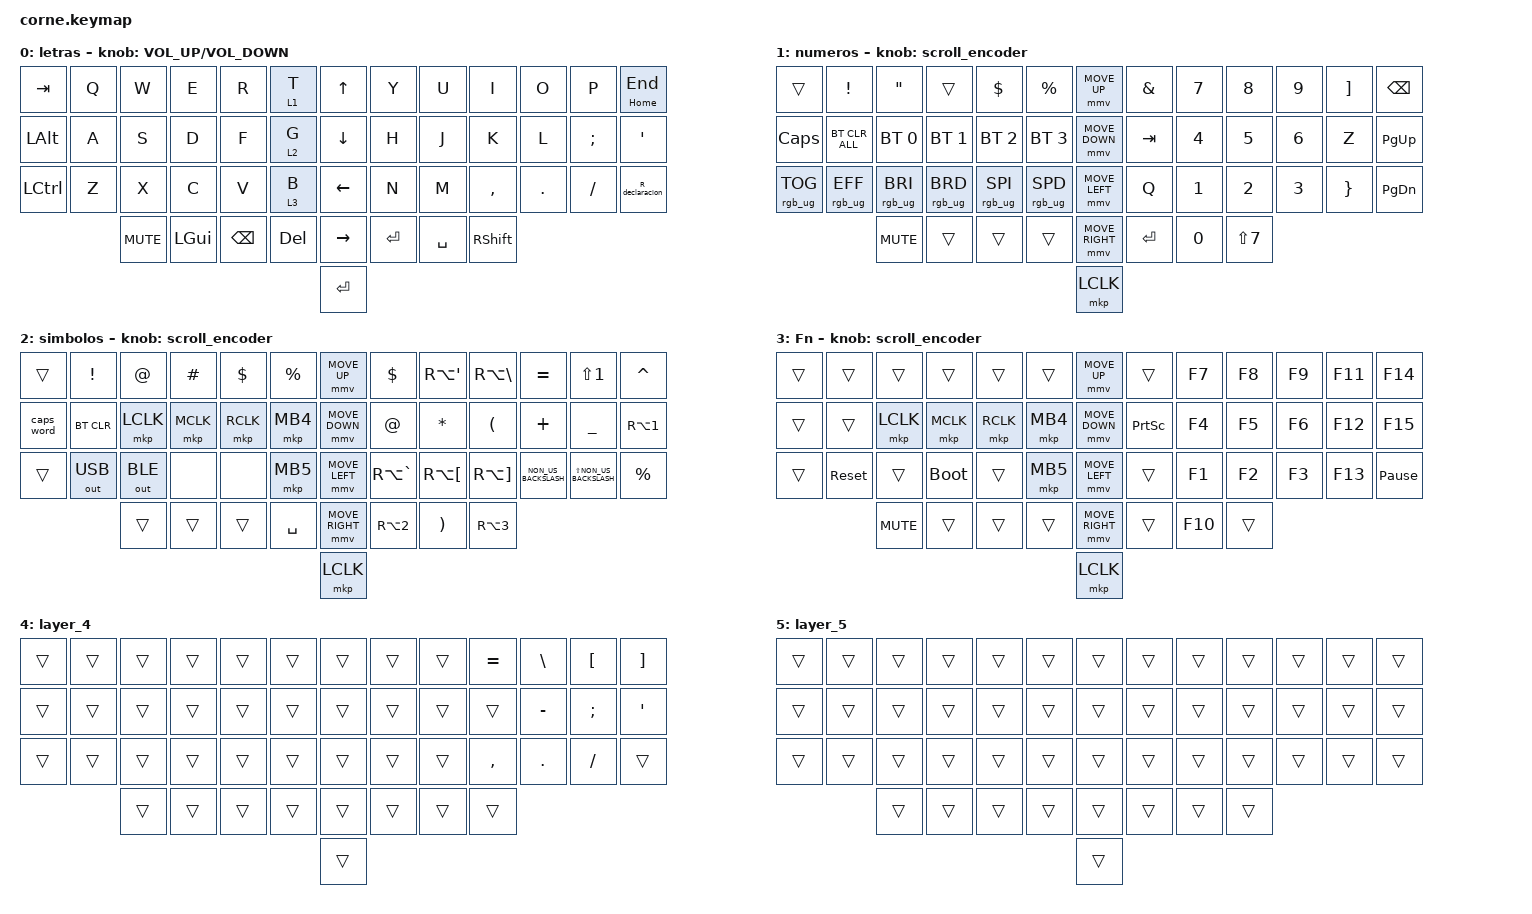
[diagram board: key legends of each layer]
#include <behaviors/mouse_keys.dtsi>
#include <dt-bindings/zmk/mouse.h>
#include <behaviors.dtsi>
#include <dt-bindings/zmk/bt.h>
#include <dt-bindings/zmk/keys.h>
#include <dt-bindings/zmk/outputs.h>
#include <dt-bindings/zmk/pointing.h>
#include <dt-bindings/zmk/pointing.h>
#include <dt-bindings/zmk/pointing.h>
#include <dt-bindings/zmk/rgb.h>

#define ZMK_MOUSE_DEFAULT_MOVE_VAL 1200  // 600
#define ZMK_MOUSE_DEFAULT_SCRL_VAL 20    // 10
#define U_MS_U &mmv MOVE_UP
#define U_MS_D &mmv MOVE_DOWN
#define U_MS_L &mmv MOVE_LEFT
#define U_MS_R &mmv MOVE_RIGHT

&lt { tapping-term-ms = <200>; };

/ {
    behaviors {
        td0: td0 {
            compatible = "zmk,behavior-tap-dance";
            label = "TD0";
            #binding-cells = <0>;
            bindings = <&kp LEFT_SHIFT>, <&kp CAPS>;
        };

        mmv {
            acceleration-exponent = <1>;      // 1
            time-to-max-speed-ms = <900>;    // 40
            delay-ms = <0>;                   // 0
        };

        msc {
            acceleration-exponent = <1>;      // 0
            time-to-max-speed-ms = <400>;      // 500
            delay-ms = <0>;                   // 10
        };
    };

    rgb_encoder: rgb_encoder {
        compatible = "zmk,behavior-sensor-rotate";
        label = "RGB_ENCODER";
        #sensor-binding-cells = <0>;
        bindings = <&rgb_ug RGB_BRI>, <&rgb_ug RGB_BRD>;
    };

    scroll_encoder: scroll_encoder {
        compatible = "zmk,behavior-sensor-rotate";
        #sensor-binding-cells = <0>;
        bindings = <&msc SCRL_DOWN>, <&msc SCRL_UP>;

        tap-ms = <30>;
    };

    combos {
        compatible = "zmk,combos";

        escape {
            bindings = <&kp ESCAPE>;
            key-positions = <0 1>;
        };

        caps {
            bindings = <&kp CAPSLOCK>;
            key-positions = <40 46>;
        };
    };

    macros {
        R_declaracion: R_declaracion {
            compatible = "zmk,behavior-macro";
            #binding-cells = <0>;
            bindings = <&kp NON_US_BACKSLASH &kp Z>;
            label = "R_DECLARACION";
        };
    };

    keymap {
        compatible = "zmk,keymap";

        default_layer {
            display-name = "letras";

            // --------------------------------------------------------------------------------
            // |  TAB |  Q  |  W  |  E  |  R  |  T  |                ↑    |  Y  |  U   |  I  |  O  |  P  | BKSP |      &kp UP_ARROW 
            // | SHIFT |  A  |  S  |  D  |  F  |  G  |               ↓    |  H  |  J   |  K  |  L  |  ;  |  '   | 
            // | CTRL |  Z  |  X  |  C  |  V  |  B  |                ←    |  N  |  M   |  ,  |  .  |  /  | ESC  |
            //                    | GUI | LWR | SPC |                →    | ENT | RSE  | ALT |
            //                                                      enter

            bindings = <
&kp TAB           &kp Q  &kp W       &kp E         &kp R          &lt 1 T       &kp UP_ARROW     &kp Y      &kp U      &kp I            &kp O    &kp P     &mt HOME END
&kp LEFT_ALT      &kp A  &kp S       &kp D         &kp F          &lt 2 G       &kp DOWN_ARROW   &kp H      &kp J      &kp K            &kp L    &kp SEMI  &kp SQT
&kp LEFT_CONTROL  &kp Z  &kp X       &kp C         &kp V          &lt 3 B       &kp LEFT_ARROW   &kp N      &kp M      &kp COMMA        &kp DOT  &kp FSLH  &R_declaracion
                         &kp K_MUTE  &kp LEFT_GUI  &kp BACKSPACE  &kp DELETE    &kp RIGHT_ARROW  &kp ENTER  &kp SPACE  &kp RIGHT_SHIFT
                                                                                &kp ENTER
            >;

            label = "QWERTY";
            sensor-bindings = <&inc_dec_kp C_VOLUME_UP C_VOLUME_DOWN>;
        };

        lower_layer {
            display-name = "numeros";

            // -----------------------------------------------------------------------------------------
            // |  TAB |  1  |  2  |  3  |  4  |  5  |   |  6  |  7  |  8  |  9  |  0  | BKSP |
            // | BTCLR| BT1 | BT2 | BT3 | BT4 | BT5 |   | LFT | DWN |  UP | RGT |     |      |
            // | SHFT |     |     |     |     |     |   |     |     |     |     |     |      |
            //                    | GUI |     | SPC |   | ENT |     | ALT |

            bindings = <
&trans           &kp EXCLAMATION  &kp DOUBLE_QUOTES  &trans           &kp DOLLAR       &kp PERCENT        &mmv MOVE_UP     &kp AMPERSAND  &kp N7  &kp N8      &kp N9  &kp RIGHT_BRACKET  &kp BSPC
&kp CAPSLOCK     &bt BT_CLR_ALL   &bt BT_SEL 0       &bt BT_SEL 1     &bt BT_SEL 2     &bt BT_SEL 3       &mmv MOVE_DOWN   &kp TAB        &kp N4  &kp N5      &kp N6  &kp Z              &kp PG_UP
&rgb_ug RGB_TOG  &rgb_ug RGB_EFF  &rgb_ug RGB_BRI    &rgb_ug RGB_BRD  &rgb_ug RGB_SPI  &rgb_ug RGB_SPD    &mmv MOVE_LEFT   &kp Q          &kp N1  &kp N2      &kp N3  &kp RIGHT_BRACE    &kp PG_DN
                                  &kp C_MUTE         &trans           &trans           &trans             &mmv MOVE_RIGHT  &kp ENTER      &kp N0  &kp LS(N7)
                                                                                                          &mkp LCLK
            >;

            label = "NUMBER";
            sensor-bindings = <&scroll_encoder>;
        };

        raise_layer {
            display-name = "simbolos";

            // -----------------------------------------------------------------------------------------
            // |  TAB |  !  |  @  |  #  |  $  |  %  |   |  ^  |  &  |  *  |  (  |  )  | BKSP |
            // | CTRL |     |     |     |     |     |   |  -  |  =  |  [  |  ]  |  \  |  `   |
            // | SHFT |     |     |     |     |     |   |  _  |  +  |  {  |  }  | "|" |  ~   |
            //                    | GUI |     | SPC |   | ENT |     | ALT |

            bindings = <
&trans      &kp EXCL      &kp AT        &kp HASH   &kp DLLR   &kp PRCNT    &mmv MOVE_UP     &kp DOLLAR     &kp RA(SINGLE_QUOTE)   &kp RA(BACKSLASH)      &kp EQUAL             &kp LS(N1)                &kp CARET
&caps_word  &bt BT_CLR    &mkp LCLK     &mkp MCLK  &mkp RCLK  &mkp MB4     &mmv MOVE_DOWN   &kp AT         &kp ASTERISK           &kp LEFT_PARENTHESIS   &kp PLUS              &kp UNDER                 &kp RA(N1)
&trans      &out OUT_USB  &out OUT_BLE  &none      &none      &mkp MB5     &mmv MOVE_LEFT   &kp RA(GRAVE)  &kp RA(LEFT_BRACKET)   &kp RA(RIGHT_BRACKET)  &kp NON_US_BACKSLASH  &kp LS(NON_US_BACKSLASH)  &kp PERCENT
                          &trans        &trans     &trans     &kp SPACE    &mmv MOVE_RIGHT  &kp RA(N2)     &kp RIGHT_PARENTHESIS  &kp RA(NUMBER_3)
                                                                           &mkp LCLK
            >;

            label = "SYMBOL";
            sensor-bindings = <&scroll_encoder>;
        };

        layer_3 {
            display-name = "Fn";
            bindings = <
&trans  &trans      &trans      &trans       &trans     &trans      &mmv MOVE_UP     &trans           &kp F7   &kp F8  &kp F9  &kp F11  &kp F14
&trans  &trans      &mkp LCLK   &mkp MCLK    &mkp RCLK  &mkp MB4    &mmv MOVE_DOWN   &kp PRINTSCREEN  &kp F4   &kp F5  &kp F6  &kp F12  &kp F15
&trans  &sys_reset  &trans      &bootloader  &trans     &mkp MB5    &mmv MOVE_LEFT   &trans           &kp F1   &kp F2  &kp F3  &kp F13  &kp PAUSE_BREAK
                    &kp C_MUTE  &trans       &trans     &trans      &mmv MOVE_RIGHT  &trans           &kp F10  &trans
                                                                    &mkp LCLK
            >;

            label = "FN";
            sensor-bindings = <&scroll_encoder>;
        };

        layer_4 {
            bindings = <
&trans  &trans  &trans  &trans  &trans  &trans    &trans  &trans  &trans  &kp EQUAL  &kp BSLH   &kp LBKT  &kp RBKT
&trans  &trans  &trans  &trans  &trans  &trans    &trans  &trans  &trans  &trans     &kp MINUS  &kp SEMI  &kp APOS
&trans  &trans  &trans  &trans  &trans  &trans    &trans  &trans  &trans  &kp COMMA  &kp DOT    &kp FSLH  &trans
                &trans  &trans  &trans  &trans    &trans  &trans  &trans  &trans
                                                  &trans
            >;
        };

        layer_5 {
            bindings = <
&trans  &trans  &trans  &trans  &trans  &trans    &trans  &trans  &trans  &trans  &trans  &trans  &trans
&trans  &trans  &trans  &trans  &trans  &trans    &trans  &trans  &trans  &trans  &trans  &trans  &trans
&trans  &trans  &trans  &trans  &trans  &trans    &trans  &trans  &trans  &trans  &trans  &trans  &trans
                &trans  &trans  &trans  &trans    &trans  &trans  &trans  &trans
                                                  &trans
            >;
        };
    };
};
